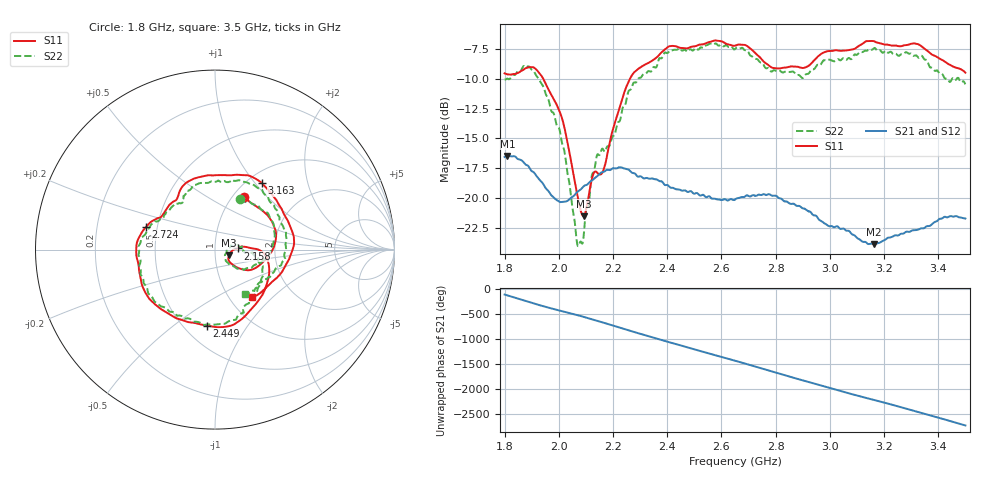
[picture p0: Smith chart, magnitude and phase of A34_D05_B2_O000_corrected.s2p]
! Created with skrf 1.9.0 (http://scikit-rf.org).
# Hz S RI R 50.0
!freq ReS11 ImS11 ReS21 ImS21 ReS12 ImS12 ReS22 ImS22
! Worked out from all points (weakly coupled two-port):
!   1601 points, 1.8 GHz to 3.5 GHz, reference 50 ohm
!   highest |S21| = -16.46 dB at 1.811 GHz (marker M1); lowest = -23.9 dB at 3.163 GHz (marker M2)
!   lowest |S11| = -21.5 dB at 2.091 GHz (marker M3), VSWR 1.18, Z = 58.3 - j3.67 ohm
!   |S11| at or under -10 dB: 1.942 GHz to 2.263 GHz (320.1 MHz wide, 15.2 % of centre)
!   |S22| runs from -24.0 to -7.0 dB; largest |S21 - S12| = 0.0027
!   S11 on the Smith chart (normalised r, x): 1.8 GHz: 1.13, +0.74; 2.158 GHz: 1.29, +0.02; 2.449 GHz: 0.64, -0.66; 2.724 GHz: 0.43, +0.13; 3.163 GHz: 1.16, +1.08; 3.5 GHz: 1.27, -0.75
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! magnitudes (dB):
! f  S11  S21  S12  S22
! 1.8 GHz  -9.6  -16.6  -16.6  -10.1
! 1.811 GHz  -9.6  -16.5  -16.5  -10.0
! 1.886 GHz  -9.1  -17.3  -17.3  -9.0
! 1.941 GHz  -10.0  -18.8  -18.8  -10.6
! 2.013 GHz  -13.4  -20.3  -20.3  -15.4
! 2.067 GHz  -19.5  -19.5  -19.5  -23.7
! 2.084 GHz  -21.3  -19.2  -19.2  -23.7
! 2.091 GHz  -21.5  -19.0  -19.1  -23.3
! 2.126 GHz  -18.0  -18.5  -18.4  -17.9
! 2.158 GHz  -18.0  -17.8  -17.8  -15.9
! 2.194 GHz  -14.7  -17.6  -17.6  -15.1
! 2.26 GHz  -10.1  -17.7  -17.7  -11.0
! 2.367 GHz  -8.1  -18.5  -18.5  -8.5
! 2.449 GHz  -7.4  -19.3  -19.3  -7.5
! 2.65 GHz  -7.2  -20.1  -20.1  -7.5
! 2.724 GHz  -7.8  -19.8  -19.8  -8.3
! 2.793 GHz  -9.1  -19.8  -19.8  -9.3
! 2.934 GHz  -8.7  -21.3  -21.3  -9.2
! 3.163 GHz  -6.9  -23.9  -23.8  -7.4
! 3.217 GHz  -7.2  -23.3  -23.3  -7.8
! 3.324 GHz  -7.1  -22.6  -22.6  -8.2
! 3.5 GHz  -9.5  -21.7  -21.7  -10.5
